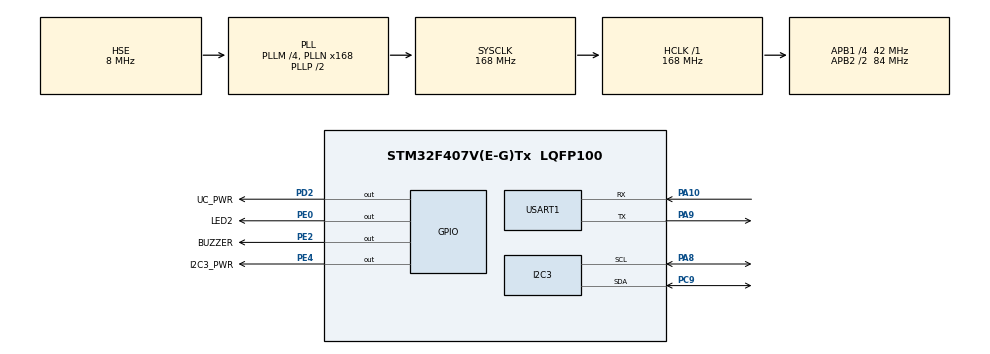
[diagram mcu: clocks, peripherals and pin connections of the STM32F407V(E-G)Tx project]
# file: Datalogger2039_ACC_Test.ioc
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Mcu.Family=STM32F4
RCC.PLLSourceVirtual=RCC_PLLSOURCE_HSE
I2C3.I2C_Mode=I2C_Fast
PH0-OSC_IN.Signal=RCC_OSC_IN
RCC.CortexFreq_Value=168000000
PA10.Mode=Asynchronous
VP_IWDG_VS_IWDG.Mode=IWDG_Activate
PE2.GPIO_Speed=GPIO_SPEED_FREQ_VERY_HIGH
PD2.GPIO_Speed=GPIO_SPEED_FREQ_VERY_HIGH
RCC.APB1CLKDivider=RCC_HCLK_DIV4
RCC.SYSCLKSource=RCC_SYSCLKSOURCE_PLLCLK
ProjectManager.StackSize=0x400
PA9.Mode=Asynchronous
ProjectManager.TargetToolchain=STM32CubeIDE
RCC.HCLKFreq_Value=168000000
RCC.APB2TimFreq_Value=168000000
PA9.Signal=USART1_TX
RCC.LSE_VALUE=32768
RCC.AHBFreq_Value=168000000
PH0-OSC_IN.Mode=HSE-External-Oscillator
RCC.HSE_VALUE=8000000
PD2.PinState=GPIO_PIN_SET
board=custom
RCC.VCOOutputFreq_Value=336000000
RCC.APB2Freq_Value=84000000
PE4.GPIO_Speed=GPIO_SPEED_FREQ_VERY_HIGH
PE4.GPIO_Label=I2C3_PWR
PC9.Mode=I2C
PH1-OSC_OUT.Signal=RCC_OSC_OUT
PE2.Signal=GPIO_Output
PA8.Signal=I2C3_SCL
PE4.Signal=GPIO_Output
Mcu.Name=STM32F407V(E-G)Tx
PE0.Signal=GPIO_Output
PH1-OSC_OUT.Mode=HSE-External-Oscillator
RCC.48MHZClocksFreq_Value=84000000
RCC.SYSCLKFreq_VALUE=168000000
Mcu.Package=LQFP100
USART1.VirtualMode=VM_ASYNC
PA10.Signal=USART1_RX
ProjectManager.HeapSize=0x200
PE0.GPIO_Label=LED2
RCC.HSI_VALUE=16000000
NVIC.PriorityGroup=NVIC_PRIORITYGROUP_4
RCC.APB2CLKDivider=RCC_HCLK_DIV2
RCC.PLLM=4
RCC.PLLN=168
IWDG.Prescaler=IWDG_PRESCALER_32
RCC.APB1TimFreq_Value=84000000
PE4.PinState=GPIO_PIN_SET
PA8.Mode=I2C
PC9.Signal=I2C3_SDA
PD2.Signal=GPIO_Output
NVIC.USART1_IRQn=true\:0\:0\:false\:false\:true\:true\:true
RCC.APB1Freq_Value=42000000
PE2.GPIO_Label=BUZZER
PD2.GPIO_Label=UC_PWR

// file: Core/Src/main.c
/* USER CODE BEGIN Header */
/**
 ******************************************************************************
 * @file           : main.c
 * @brief          : Main program body
 ******************************************************************************
 * @attention
 *
 * <h2><center>&copy; Copyright (c) 2021 STMicroelectronics.
 * All rights reserved.</center></h2>
 *
 * This software component is licensed by ST under BSD 3-Clause license,
 * the "License"; You may not use this file except in compliance with the
 * License. You may obtain a copy of the License at:
 *                        opensource.org/licenses/BSD-3-Clause
 *
 ******************************************************************************
 */
/* USER CODE END Header */
#include "main.h"

/* USER CODE BEGIN Includes */
#include <stdio.h>
#include "MPU6050.h"
#include "IWDG_Delay.h"
/* USER CODE END Includes */

I2C_HandleTypeDef hi2c3;

IWDG_HandleTypeDef hiwdg;

UART_HandleTypeDef huart1;

/* USER CODE BEGIN PV */
uint32_t cnt1 = 0;
uint32_t cnt2 = 0;
int Acc_x_old = 0;
int Acc_y_old = 0;

extern int MPU6050_AccAngleX;
extern int MPU6050_AccAngleY;
/* USER CODE END PV */

void SystemClock_Config(void);
static void MX_GPIO_Init(void);
static void MX_I2C3_Init(void);
static void MX_IWDG_Init(void);
static void MX_USART1_UART_Init(void);

int main(void) {

	/* MCU Configuration--------------------------------------------------------*/

	/* Reset of all peripherals, Initializes the Flash interface and the Systick. */
	HAL_Init();

	/* Configure the system clock */
	SystemClock_Config();

	/* Initialize all configured peripherals */
	MX_GPIO_Init();
	MX_I2C3_Init();
	MX_IWDG_Init();
	MX_USART1_UART_Init();
	/* USER CODE BEGIN 2 */
	HAL_GPIO_WritePin(I2C3_PWR_GPIO_Port, I2C3_PWR_Pin, GPIO_PIN_SET);
	IWDG_delay_ms(100);

	MPU6050_reset();

	IWDG_delay_ms(100);

	MPU6050_init(NO_CALC_ERROR);
	/* USER CODE END 2 */

	/* Infinite loop */
	while (1) {

		/* USER CODE BEGIN 3 */
		MPU6050_acc();

		if ((MPU6050_AccAngleX > (Acc_x_old + 1))
				|| (MPU6050_AccAngleX < (Acc_x_old - 1))
				|| (MPU6050_AccAngleY > (Acc_y_old + 1))
				|| (MPU6050_AccAngleY < (Acc_y_old - 1))) {
			Acc_x_old = MPU6050_AccAngleX;
			Acc_y_old = MPU6050_AccAngleY;

			UsrLog("%lu) Acc: X:%d, Y:%d (Motion detected: %lu)", cnt2,
					MPU6050_AccAngleX, MPU6050_AccAngleY, cnt1);

			HAL_GPIO_TogglePin(LED2_GPIO_Port, LED2_Pin);

			HAL_GPIO_WritePin(GPIOE, BUZZER_Pin, GPIO_PIN_SET);
			IWDG_delay_ms(5);
			HAL_GPIO_WritePin(GPIOE, BUZZER_Pin, GPIO_PIN_RESET);

			cnt1++;
		} else {
			UsrLog("%lu) Acc: X:%d, Y:%d", cnt2, MPU6050_AccAngleX,
					MPU6050_AccAngleY);
		}

		cnt2++;

		IWDG_delay_ms(100);
	}
	/* USER CODE END 3 */
}

void SystemClock_Config(void) {
	RCC_OscInitTypeDef RCC_OscInitStruct = { 0 };
	RCC_ClkInitTypeDef RCC_ClkInitStruct = { 0 };

	/** Configure the main internal regulator output voltage
	 */
	__HAL_RCC_PWR_CLK_ENABLE();
	__HAL_PWR_VOLTAGESCALING_CONFIG(PWR_REGULATOR_VOLTAGE_SCALE1);
	/** Initializes the RCC Oscillators according to the specified parameters
	 * in the RCC_OscInitTypeDef structure.
	 */
	RCC_OscInitStruct.OscillatorType = RCC_OSCILLATORTYPE_LSI
			| RCC_OSCILLATORTYPE_HSE;
	RCC_OscInitStruct.HSEState = RCC_HSE_ON;
	RCC_OscInitStruct.LSIState = RCC_LSI_ON;
	RCC_OscInitStruct.PLL.PLLState = RCC_PLL_ON;
	RCC_OscInitStruct.PLL.PLLSource = RCC_PLLSOURCE_HSE;
	RCC_OscInitStruct.PLL.PLLM = 4;
	RCC_OscInitStruct.PLL.PLLN = 168;
	RCC_OscInitStruct.PLL.PLLP = RCC_PLLP_DIV2;
	RCC_OscInitStruct.PLL.PLLQ = 4;
	if (HAL_RCC_OscConfig(&RCC_OscInitStruct) != HAL_OK) {
		Error_Handler();
	}
	/** Initializes the CPU, AHB and APB buses clocks
	 */
	RCC_ClkInitStruct.ClockType = RCC_CLOCKTYPE_HCLK | RCC_CLOCKTYPE_SYSCLK
			| RCC_CLOCKTYPE_PCLK1 | RCC_CLOCKTYPE_PCLK2;
	RCC_ClkInitStruct.SYSCLKSource = RCC_SYSCLKSOURCE_PLLCLK;
	RCC_ClkInitStruct.AHBCLKDivider = RCC_SYSCLK_DIV1;
	RCC_ClkInitStruct.APB1CLKDivider = RCC_HCLK_DIV4;
	RCC_ClkInitStruct.APB2CLKDivider = RCC_HCLK_DIV2;

	if (HAL_RCC_ClockConfig(&RCC_ClkInitStruct, FLASH_LATENCY_5) != HAL_OK) {
		Error_Handler();
	}
}

static void MX_I2C3_Init(void) {

	hi2c3.Instance = I2C3;
	hi2c3.Init.ClockSpeed = 400000;
	hi2c3.Init.DutyCycle = I2C_DUTYCYCLE_2;
	hi2c3.Init.OwnAddress1 = 0;
	hi2c3.Init.AddressingMode = I2C_ADDRESSINGMODE_7BIT;
	hi2c3.Init.DualAddressMode = I2C_DUALADDRESS_DISABLE;
	hi2c3.Init.OwnAddress2 = 0;
	hi2c3.Init.GeneralCallMode = I2C_GENERALCALL_DISABLE;
	hi2c3.Init.NoStretchMode = I2C_NOSTRETCH_DISABLE;
	if (HAL_I2C_Init(&hi2c3) != HAL_OK) {
		Error_Handler();
	}

}

static void MX_IWDG_Init(void) {

	hiwdg.Instance = IWDG;
	hiwdg.Init.Prescaler = IWDG_PRESCALER_32;
	hiwdg.Init.Reload = 4095;
	if (HAL_IWDG_Init(&hiwdg) != HAL_OK) {
		Error_Handler();
	}

}

static void MX_USART1_UART_Init(void) {

	huart1.Instance = USART1;
	huart1.Init.BaudRate = 115200;
	huart1.Init.WordLength = UART_WORDLENGTH_8B;
	huart1.Init.StopBits = UART_STOPBITS_1;
	huart1.Init.Parity = UART_PARITY_NONE;
	huart1.Init.Mode = UART_MODE_TX_RX;
	huart1.Init.HwFlowCtl = UART_HWCONTROL_NONE;
	huart1.Init.OverSampling = UART_OVERSAMPLING_16;
	if (HAL_UART_Init(&huart1) != HAL_OK) {
		Error_Handler();
	}

}

static void MX_GPIO_Init(void) {
	GPIO_InitTypeDef GPIO_InitStruct = { 0 };

	/* GPIO Ports Clock Enable */
	__HAL_RCC_GPIOE_CLK_ENABLE();
	__HAL_RCC_GPIOH_CLK_ENABLE();
	__HAL_RCC_GPIOC_CLK_ENABLE();
	__HAL_RCC_GPIOA_CLK_ENABLE();
	__HAL_RCC_GPIOD_CLK_ENABLE();

	/*Configure GPIO pin Output Level */
	HAL_GPIO_WritePin(GPIOE, BUZZER_Pin | LED2_Pin, GPIO_PIN_RESET);

	/*Configure GPIO pin Output Level */
	HAL_GPIO_WritePin(I2C3_PWR_GPIO_Port, I2C3_PWR_Pin, GPIO_PIN_SET);

	/*Configure GPIO pin Output Level */
	HAL_GPIO_WritePin(UC_PWR_GPIO_Port, UC_PWR_Pin, GPIO_PIN_SET);

	/*Configure GPIO pins : BUZZER_Pin I2C3_PWR_Pin */
	GPIO_InitStruct.Pin = BUZZER_Pin | I2C3_PWR_Pin;
	GPIO_InitStruct.Mode = GPIO_MODE_OUTPUT_PP;
	GPIO_InitStruct.Pull = GPIO_NOPULL;
	GPIO_InitStruct.Speed = GPIO_SPEED_FREQ_VERY_HIGH;
	HAL_GPIO_Init(GPIOE, &GPIO_InitStruct);

	/*Configure GPIO pin : UC_PWR_Pin */
	GPIO_InitStruct.Pin = UC_PWR_Pin;
	GPIO_InitStruct.Mode = GPIO_MODE_OUTPUT_PP;
	GPIO_InitStruct.Pull = GPIO_NOPULL;
	GPIO_InitStruct.Speed = GPIO_SPEED_FREQ_VERY_HIGH;
	HAL_GPIO_Init(UC_PWR_GPIO_Port, &GPIO_InitStruct);

	/*Configure GPIO pin : LED2_Pin */
	GPIO_InitStruct.Pin = LED2_Pin;
	GPIO_InitStruct.Mode = GPIO_MODE_OUTPUT_PP;
	GPIO_InitStruct.Pull = GPIO_NOPULL;
	GPIO_InitStruct.Speed = GPIO_SPEED_FREQ_LOW;
	HAL_GPIO_Init(LED2_GPIO_Port, &GPIO_InitStruct);

}

/* USER CODE BEGIN 4 */
int __io_putchar(int ch) {
	uint8_t c[1];
	c[0] = ch & 0x00FF;
	HAL_UART_Transmit(&huart1, &*c, 1, 10);
	return ch;
}

int _write(int file, char *ptr, int len) {
	int DataIdx;
	for (DataIdx = 0; DataIdx < len; DataIdx++) {
		__io_putchar(*ptr++);
	}
	return len;
}
/* USER CODE END 4 */

void Error_Handler(void) {
	__disable_irq();
	while (1) {
	}
}

/************************ (C) COPYRIGHT STMicroelectronics *****END OF FILE****/
